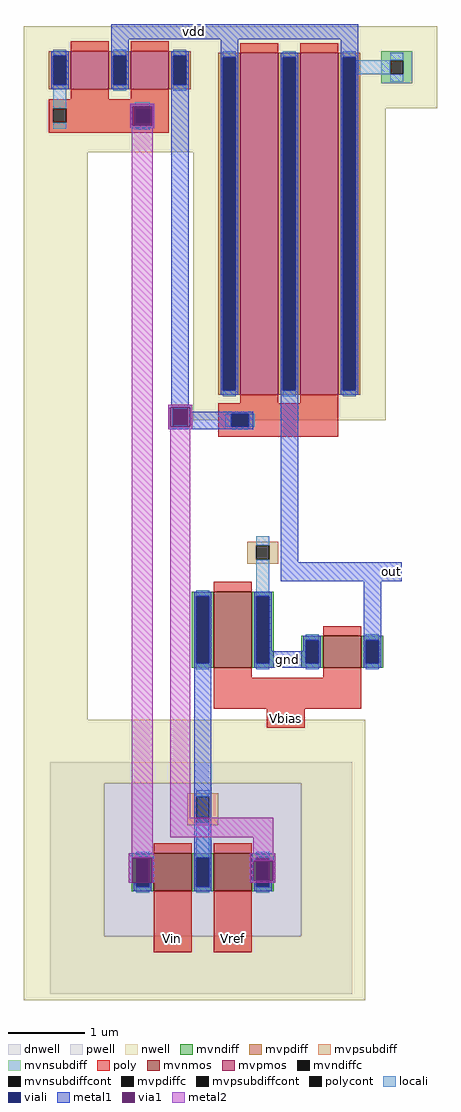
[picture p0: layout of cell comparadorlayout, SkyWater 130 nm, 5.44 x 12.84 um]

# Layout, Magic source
magic
tech sky130A
<< dnwell >>
rect -141 -2256 256 -1951
<< nwell >>
rect -176 -1091 368 -983
rect -176 -1149 300 -1091
rect -176 -1895 -92 -1149
rect 47 -1501 300 -1149
rect -176 -1979 273 -1895
rect -176 -2180 -70 -1979
rect 189 -2180 273 -1979
rect -176 -2264 273 -2180
<< pwell >>
rect -70 -2180 189 -1979
<< mvnmos >>
rect 74 -1827 124 -1727
rect 218 -1827 268 -1785
rect -5 -2121 45 -2071
rect 74 -2121 124 -2071
<< mvpmos >>
rect -114 -1066 -64 -1016
rect -35 -1066 15 -1016
rect 109 -1468 159 -1018
rect 188 -1468 238 -1018
<< mvndiff >>
rect 45 -1733 74 -1727
rect 45 -1821 51 -1733
rect 68 -1821 74 -1733
rect 45 -1827 74 -1821
rect 124 -1733 153 -1727
rect 124 -1821 130 -1733
rect 147 -1821 153 -1733
rect 124 -1827 153 -1821
rect 189 -1791 218 -1785
rect 189 -1821 195 -1791
rect 212 -1821 218 -1791
rect 189 -1827 218 -1821
rect 268 -1791 297 -1785
rect 268 -1821 274 -1791
rect 291 -1821 297 -1791
rect 268 -1827 297 -1821
rect -34 -2077 -5 -2071
rect -34 -2115 -28 -2077
rect -11 -2115 -5 -2077
rect -34 -2121 -5 -2115
rect 45 -2077 74 -2071
rect 45 -2115 51 -2077
rect 68 -2115 74 -2077
rect 45 -2121 74 -2115
rect 124 -2077 153 -2071
rect 124 -2115 130 -2077
rect 147 -2115 153 -2077
rect 124 -2121 153 -2115
<< mvpdiff >>
rect -143 -1022 -114 -1016
rect -143 -1060 -137 -1022
rect -120 -1060 -114 -1022
rect -143 -1066 -114 -1060
rect -64 -1022 -35 -1016
rect -64 -1060 -58 -1022
rect -41 -1060 -35 -1022
rect -64 -1066 -35 -1060
rect 15 -1022 44 -1016
rect 15 -1060 21 -1022
rect 38 -1060 44 -1022
rect 15 -1066 44 -1060
rect 80 -1024 109 -1018
rect 80 -1462 86 -1024
rect 103 -1462 109 -1024
rect 80 -1468 109 -1462
rect 159 -1024 188 -1018
rect 159 -1462 165 -1024
rect 182 -1462 188 -1024
rect 159 -1468 188 -1462
rect 238 -1024 267 -1018
rect 238 -1462 244 -1024
rect 261 -1462 267 -1024
rect 238 -1468 267 -1462
<< mvndiffc >>
rect 51 -1821 68 -1733
rect 130 -1821 147 -1733
rect 195 -1821 212 -1791
rect 274 -1821 291 -1791
rect -28 -2115 -11 -2077
rect 51 -2115 68 -2077
rect 130 -2115 147 -2077
<< mvpdiffc >>
rect -137 -1060 -120 -1022
rect -58 -1060 -41 -1022
rect 21 -1060 38 -1022
rect 86 -1462 103 -1024
rect 165 -1462 182 -1024
rect 244 -1462 261 -1024
<< mvpsubdiff >>
rect 118 -1666 159 -1661
rect 118 -1685 130 -1666
rect 147 -1685 159 -1666
rect 118 -1690 159 -1685
rect 39 -1996 80 -1992
rect 39 -2031 51 -1996
rect 68 -2031 80 -1996
rect 39 -2034 80 -2031
<< mvnsubdiff >>
rect 294 -1028 335 -1016
rect 294 -1046 306 -1028
rect 323 -1046 335 -1028
rect 294 -1058 335 -1046
<< mvpsubdiffcont >>
rect 130 -1685 147 -1666
rect 51 -2031 68 -1996
<< mvnsubdiffcont >>
rect 306 -1046 323 -1028
<< poly >>
rect -114 -1016 -64 -1003
rect -35 -1016 15 -1003
rect 109 -1018 159 -1005
rect 188 -1018 238 -1005
rect -114 -1079 -64 -1066
rect -35 -1079 15 -1066
rect -143 -1091 15 -1079
rect -143 -1110 -137 -1091
rect -120 -1110 -30 -1091
rect -143 -1111 -30 -1110
rect -10 -1111 15 -1091
rect -143 -1123 15 -1111
rect 109 -1479 159 -1468
rect 188 -1479 238 -1468
rect 80 -1493 238 -1479
rect 80 -1510 97 -1493
rect 120 -1510 238 -1493
rect 80 -1523 238 -1510
rect 74 -1727 124 -1714
rect 218 -1785 268 -1772
rect 74 -1840 124 -1827
rect 218 -1840 268 -1827
rect 74 -1881 268 -1840
rect 144 -1906 194 -1881
rect -5 -2071 45 -2058
rect 74 -2071 124 -2058
rect -5 -2201 45 -2121
rect 74 -2201 124 -2121
<< polycont >>
rect -137 -1110 -120 -1091
rect -30 -1111 -10 -1091
rect 97 -1510 120 -1493
<< locali >>
rect -137 -1022 -120 -1014
rect -137 -1091 -120 -1060
rect -58 -1022 -41 -1014
rect -58 -1068 -41 -1060
rect 21 -1022 38 -1014
rect 21 -1068 38 -1060
rect 86 -1024 103 -1016
rect -137 -1118 -120 -1110
rect -30 -1091 -10 -1083
rect -30 -1119 -10 -1111
rect 86 -1470 103 -1462
rect 165 -1024 182 -1016
rect 165 -1470 182 -1462
rect 244 -1024 261 -1016
rect 306 -1028 323 -1018
rect 261 -1046 306 -1028
rect 306 -1056 323 -1046
rect 244 -1470 261 -1462
rect 20 -1487 40 -1481
rect 20 -1513 40 -1507
rect 89 -1510 97 -1493
rect 120 -1510 128 -1493
rect 130 -1666 147 -1654
rect 51 -1733 68 -1725
rect 51 -1829 68 -1821
rect 130 -1733 147 -1685
rect 130 -1829 147 -1821
rect 195 -1791 212 -1783
rect 195 -1829 212 -1821
rect 274 -1791 291 -1783
rect 274 -1829 291 -1821
rect 51 -1996 68 -1988
rect -28 -2077 -11 -2069
rect -28 -2123 -11 -2115
rect 51 -2077 68 -2031
rect 51 -2123 68 -2115
rect 130 -2077 147 -2069
rect 130 -2123 147 -2115
<< viali >>
rect -137 -1060 -120 -1022
rect -58 -1060 -41 -1022
rect 21 -1060 38 -1022
rect -30 -1111 -10 -1091
rect 86 -1462 103 -1024
rect 165 -1462 182 -1024
rect 244 -1462 261 -1024
rect 20 -1507 40 -1487
rect 97 -1510 120 -1493
rect 51 -1821 68 -1733
rect 130 -1821 147 -1733
rect 195 -1821 212 -1791
rect 274 -1821 291 -1791
rect -28 -2115 -11 -2077
rect 51 -2115 68 -2077
rect 130 -2115 147 -2077
<< metal1 >>
rect -61 -1000 264 -980
rect -140 -1022 -117 -1016
rect -140 -1060 -137 -1022
rect -120 -1060 -117 -1022
rect -140 -1066 -117 -1060
rect -61 -1022 -38 -1000
rect -61 -1060 -58 -1022
rect -41 -1060 -38 -1022
rect -61 -1066 -38 -1060
rect 18 -1022 41 -1016
rect 18 -1060 21 -1022
rect 38 -1060 41 -1022
rect -36 -1088 -4 -1085
rect -36 -1114 -33 -1088
rect -7 -1114 -4 -1088
rect -36 -1117 -4 -1114
rect 18 -1481 41 -1060
rect 83 -1024 106 -1000
rect 83 -1462 86 -1024
rect 103 -1462 106 -1024
rect 83 -1468 106 -1462
rect 162 -1024 185 -1018
rect 162 -1462 165 -1024
rect 182 -1462 185 -1024
rect 14 -1484 46 -1481
rect 14 -1510 17 -1484
rect 43 -1490 46 -1484
rect 43 -1493 126 -1490
rect 43 -1510 97 -1493
rect 120 -1510 126 -1493
rect 14 -1513 126 -1510
rect 162 -1688 185 -1462
rect 241 -1024 264 -1000
rect 241 -1462 244 -1024
rect 261 -1462 264 -1024
rect 241 -1468 264 -1462
rect 162 -1713 321 -1688
rect 48 -1733 71 -1727
rect 48 -1821 51 -1733
rect 68 -1821 71 -1733
rect -38 -2077 -4 -2071
rect -38 -2110 -33 -2077
rect -7 -2110 -4 -2077
rect 48 -2077 71 -1821
rect 127 -1733 150 -1727
rect 127 -1821 130 -1733
rect 147 -1805 150 -1733
rect 192 -1791 215 -1785
rect 192 -1805 195 -1791
rect 147 -1821 195 -1805
rect 212 -1821 215 -1791
rect 127 -1827 215 -1821
rect 271 -1791 294 -1713
rect 271 -1821 274 -1791
rect 291 -1821 294 -1791
rect 271 -1827 294 -1821
rect -31 -2115 -28 -2110
rect -11 -2115 -8 -2110
rect -31 -2121 -8 -2115
rect 48 -2115 51 -2077
rect 68 -2115 71 -2077
rect 121 -2077 155 -2071
rect 121 -2081 130 -2077
rect 147 -2081 155 -2077
rect 121 -2107 126 -2081
rect 152 -2107 155 -2081
rect 121 -2110 130 -2107
rect 48 -2121 71 -2115
rect 127 -2115 130 -2110
rect 147 -2110 155 -2107
rect 147 -2115 150 -2110
rect 127 -2121 150 -2115
<< via1 >>
rect -33 -1091 -7 -1088
rect -33 -1111 -30 -1091
rect -30 -1111 -10 -1091
rect -10 -1111 -7 -1091
rect -33 -1114 -7 -1111
rect 17 -1487 43 -1484
rect 17 -1507 20 -1487
rect 20 -1507 40 -1487
rect 40 -1507 43 -1487
rect 17 -1510 43 -1507
rect -33 -2110 -28 -2077
rect -28 -2110 -11 -2077
rect -11 -2110 -7 -2077
rect 126 -2107 130 -2081
rect 130 -2107 147 -2081
rect 147 -2107 152 -2081
<< metal2 >>
rect -36 -1088 -4 -1085
rect -36 -1114 -33 -1088
rect -7 -1114 -4 -1088
rect -36 -1117 -4 -1114
rect -34 -2071 -6 -1117
rect 14 -1484 46 -1481
rect 14 -1510 17 -1484
rect 43 -1510 46 -1484
rect 14 -1513 46 -1510
rect 17 -2024 43 -1513
rect 17 -2050 152 -2024
rect 126 -2071 152 -2050
rect -38 -2077 -4 -2071
rect -38 -2110 -33 -2077
rect -7 -2110 -4 -2077
rect 121 -2081 155 -2071
rect 121 -2107 126 -2081
rect 152 -2107 155 -2081
rect 121 -2110 155 -2107
<< labels >>
rlabel metal1 14 -1000 83 -980 1 vdd
port 1 n
rlabel metal1 153 -1827 189 -1805 1 gnd
port 2 n
rlabel metal1 294 -1713 321 -1688 1 out
port 3 n
rlabel poly -5 -2201 45 -2165 5 Vin
port 4 s
rlabel poly 74 -2201 124 -2165 5 Vref
port 5 s
rlabel poly 144 -1906 194 -1881 5 Vbias
port 6 s
<< end >>
